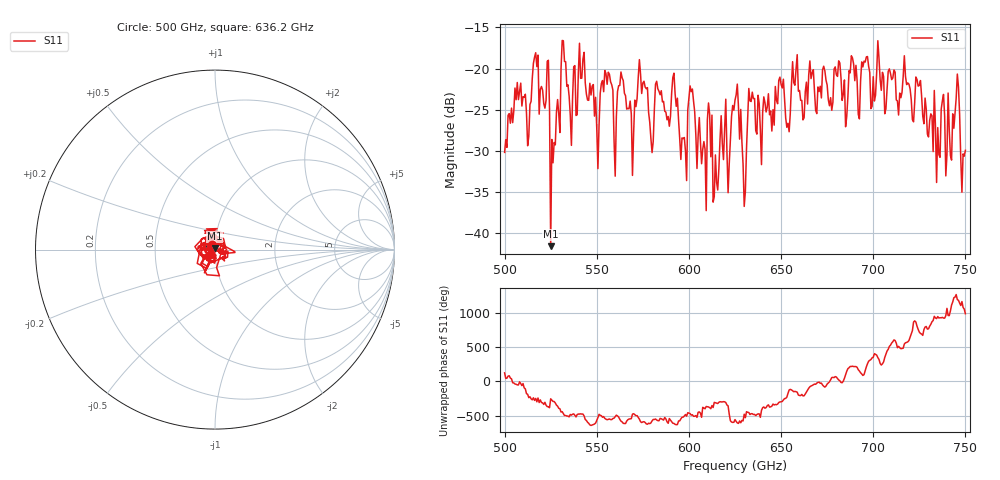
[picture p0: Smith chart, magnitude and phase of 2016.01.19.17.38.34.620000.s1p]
!Created with skrf (http://scikit-rf.org).
# GHz S RI R 50.0
!freq ReS11 ImS11
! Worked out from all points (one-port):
!   401 points, 500 GHz to 750 GHz, reference 50 ohm
!   lowest |S11| = -41.5 dB at 525 GHz (marker M1), VSWR 1.02, Z = 49.7 + j0.796 ohm
!   |S11| at or under -10 dB: start of sweep to end of sweep
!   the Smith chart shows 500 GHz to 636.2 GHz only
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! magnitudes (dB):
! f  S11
! 500 GHz  -30.2
! 506.9 GHz  -21.7
! 513.1 GHz  -28.2
! 516.9 GHz  -18.1
! 525 GHz  -41.5
! 526.2 GHz  -31.4
! 531.2 GHz  -16.6
! 535.6 GHz  -25.6
! 541.9 GHz  -21.2
! 550 GHz  -27.2
! 562.5 GHz  -22.1
! 568.8 GHz  -25.6
! 573.8 GHz  -20.7
! 593.8 GHz  -23.6
! 597.5 GHz  -28.4
! 601.2 GHz  -22.8
! 608.1 GHz  -28.9
! 611.2 GHz  -25.6
! 614.4 GHz  -30.5
! 625 GHz  -23.8
! 630 GHz  -36.7
! 633.8 GHz  -24.0
! 656.2 GHz  -19.2
! 687.5 GHz  -20.5
! 718.8 GHz  -21.7
! 735 GHz  -27.2
! 745.6 GHz  -20.7
! 750 GHz  -29.9
